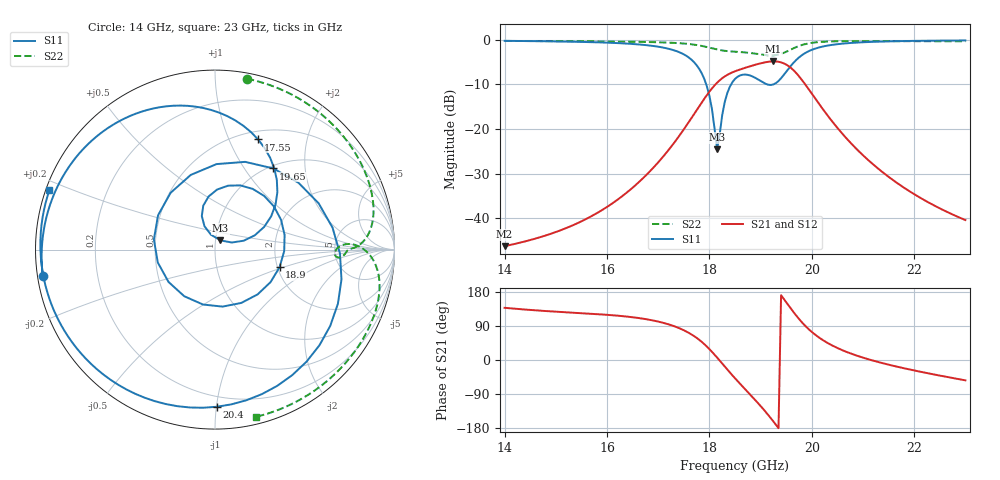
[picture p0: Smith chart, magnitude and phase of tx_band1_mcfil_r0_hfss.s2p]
! Touchstone file exported from HFSS 3D Layout Design 2026.1.0
!  File:  D:/Work/SIM/ADS_AUTO_SIM/projects/RFSOC_RF/TX_Fillter.aedt
!  Generated:  08:59:17 PM Aug 30, 2026
!  Design:  TX_BAND1_MCFIL_ALUMINA_BB_14_23G
!  Project:  TX_Fillter
# GHz S MA R 50.000000
! Terminal data exported
! Port[1] = Port1
! Port[2] = Port2
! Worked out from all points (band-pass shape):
!   181 points, 14 GHz to 23 GHz, reference 50 ohm
!   highest |S21| = -4.86 dB at 19.25 GHz (marker M1); lowest = -46.2 dB at 14 GHz (marker M2)
!   |S21| within 3 dB of the highest: 18.35 GHz to 19.73 GHz (1.372 GHz wide, 7.21 % of centre)
!   lowest |S11| = -24.5 dB at 18.15 GHz (marker M3), VSWR 1.13, Z = 52.8 + j5.44 ohm
!   |S11| at or under -10 dB: 17.94 GHz to 18.43 GHz (488 MHz wide, 2.68 % of centre); 19.13 GHz to 19.25 GHz (124.5 MHz wide, 0.649 % of centre)
!   |S22| runs from -3.5 to -0.3 dB; largest |S21 - S12| = 1e-14
!   S11 on the Smith chart (normalised r, x): 14 GHz: 0.01, -0.08; 17.55 GHz: 0.59, +1.29; 18.9 GHz: 2.05, -0.47; 19.65 GHz: 1.05, +1.37; 20.4 GHz: 0.13, -1.00; 23 GHz: 0.01, +0.17
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14  0.9708 -171.2  0.004884 137.7  0.004884 137.7  0.9683 79.4
15.5  0.9448 157.8  0.00926 123.5  0.00926 123.5  0.9593 52.2
16.3  0.9102 135.1  0.01777 115.8  0.01777 115.8  0.951 37.5
17  0.8347 106.2  0.04238 101.4  0.04238 101.4  0.9357 23.8
17.55  0.6591 68.6  0.109 75.1  0.109 75.1  0.9007 11.8
17.95  0.3016 24.8  0.2396 35.6  0.2396 35.6  0.8272 3.1
18.15  0.0596 59.3  0.3298 6.5  0.3298 6.5  0.7765 0.8
18.3  0.2008 111.5  0.388 -17.3  0.388 -17.3  0.7504 0.2
18.5  0.3636 78.4  0.4429 -48.2  0.4429 -48.2  0.7344 -0.7
18.75  0.4037 24.4  0.495 -84.5  0.495 -84.5  0.7152 -2.7
18.9  0.3729 -15.2  0.525 -106.3  0.525 -106.3  0.6971 -3.6
19.1  0.3204 -82.4  0.5596 -137.1  0.5596 -137.1  0.6729 -3.1
19.25  0.3155 -145.1  0.5716 -162.2  0.5716 -162.2  0.6688 -1.1
19.45  0.4017 128.0  0.5442 161.6  0.5442 161.6  0.7113 2.1
19.65  0.5571 54.2  0.4509 125.0  0.4509 125.0  0.8044 1.2
19.8  0.6662 10.6  0.3585 100.5  0.3585 100.5  0.8693 -2.5
20  0.77 -33.5  0.2491 74.0  0.2491 74.0  0.9222 -8.8
20.2  0.8346 -65.5  0.1719 53.9  0.1719 53.9  0.9464 -14.8
20.4  0.8757 -89.3  0.1212 38.3  0.1212 38.3  0.9567 -20.2
20.9  0.9299 -128.8  0.05777 10.6  0.05777 10.6  0.9632 -32.1
21.5  0.958 -157.7  0.02916 -12.3  0.02916 -12.3  0.9628 -45.0
23  0.9803 160.3  0.009569 -53.7  0.009569 -53.7  0.9592 -76.3
